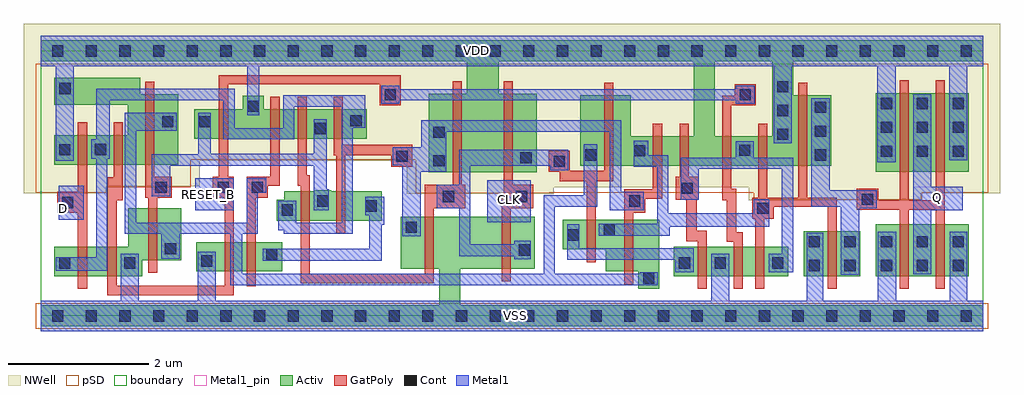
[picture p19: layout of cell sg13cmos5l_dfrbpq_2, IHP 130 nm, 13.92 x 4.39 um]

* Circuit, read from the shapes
.subckt sg13cmos5l_dfrbpq_2 CLK D Q RESET_B VDD VSS
XM1 n1 D n2 VSS sg13_lv_nmos w=0.42u l=0.13u
XM2 VSS RESET_B n1 VSS sg13_lv_nmos w=0.42u l=0.13u
XM3 n3 n4 VSS VSS sg13_lv_nmos w=0.74u l=0.13u
XM4 n5 RESET_B VSS VSS sg13_lv_nmos w=0.42u l=0.13u
XM5 n6 n3 n5 VSS sg13_lv_nmos w=0.42u l=0.13u
XM6 n4 n7 n2 VSS sg13_lv_nmos w=0.42u l=0.13u
XM7 n6 n8 n4 VSS sg13_lv_nmos w=0.42u l=0.13u
XM8 VSS n7 n8 VSS sg13_lv_nmos w=0.74u l=0.13u
XM9 n7 CLK VSS VSS sg13_lv_nmos w=0.74u l=0.13u
XM10 n9 n7 n10 VSS sg13_lv_nmos w=0.42u l=0.13u
XM11 n3 n8 n9 VSS sg13_lv_nmos w=0.74u l=0.13u
XM12 VSS n11 n10 VSS sg13_lv_nmos w=0.42u l=0.13u
XM13 n12 RESET_B VSS VSS sg13_lv_nmos w=0.42u l=0.13u
XM14 n11 n9 n12 VSS sg13_lv_nmos w=0.42u l=0.13u
XM15 n13 n9 VSS VSS sg13_lv_nmos w=0.64u l=0.13u
XM16 Q n13 VSS VSS sg13_lv_nmos w=0.74u l=0.13u m=2
XM17 n2 D VDD VDD sg13_lv_pmos w=0.42u l=0.13u
XM18 VDD RESET_B n2 VDD sg13_lv_pmos w=0.42u l=0.13u
XM19 n3 n4 VDD VDD sg13_lv_pmos w=1u l=0.13u
XM20 VDD RESET_B n4 VDD sg13_lv_pmos w=0.42u l=0.13u
XM21 n14 n3 VDD VDD sg13_lv_pmos w=0.42u l=0.13u
XM22 n4 n7 n14 VDD sg13_lv_pmos w=0.42u l=0.13u
XM23 n2 n8 n4 VDD sg13_lv_pmos w=0.42u l=0.13u
XM24 VDD n7 n8 VDD sg13_lv_pmos w=1.12u l=0.13u
XM25 n7 CLK VDD VDD sg13_lv_pmos w=1.12u l=0.13u
XM26 n9 n7 n3 VDD sg13_lv_pmos w=1u l=0.13u
XM27 n15 n8 n9 VDD sg13_lv_pmos w=0.42u l=0.13u
XM28 VDD n11 n15 VDD sg13_lv_pmos w=0.42u l=0.13u
XM29 n11 RESET_B VDD VDD sg13_lv_pmos w=0.42u l=0.13u
XM30 VDD n9 n11 VDD sg13_lv_pmos w=0.42u l=0.13u
XM31 n13 n9 VDD VDD sg13_lv_pmos w=1u l=0.13u
XM32 Q n13 VDD VDD sg13_lv_pmos w=1.12u l=0.13u m=2
.ends

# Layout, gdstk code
import gdstk
lib = gdstk.Library(unit=1e-6, precision=1e-09)
def R(c, l, rs):  # rectangles x0, y0, x1, y1
    for r in rs: c.add(gdstk.rectangle(r[:2], r[2:], *l))
def A(c, l, x, y, w, h, nx, ny, dx, dy):  # array of equal rectangles
    R(c, l, [(x+i*dx, y+j*dy, x+i*dx+w, y+j*dy+h) for i in range(nx) for j in range(ny)])
def P(c, l, *ps):  # polygons
    for p in ps: c.add(gdstk.Polygon(p, *l))
Activ = (1, 0)
GatPoly = (5, 0)
Cont = (6, 0)
Metal1 = (8, 0)
Metal1_pin = (8, 2)
pSD = (14, 0)
NWell = (31, 0)
boundary = (189, 4)

sg13cmos5l_dfrbpq_2 = lib.new_cell('sg13cmos5l_dfrbpq_2')
R(sg13cmos5l_dfrbpq_2, Activ, [(0,-0.15,13.44,0.15), (9.03,0.57,10.66,0.99), (10.88,0.57,11.69,1.21), (11.91,0.57,13.235,1.31), (2.215,0.635,3.445,1.055), (11.91,2.06,13.235,3.18)])
P(sg13cmos5l_dfrbpq_2, Activ, [(7.695,2.145),(7.695,3.145),(8.415,3.145),(8.415,2.565),(9.31,2.565),(9.31,3.63),(0,3.63),(0,3.93),(10.43,3.93),(10.43,3.63),(9.61,3.63),(9.61,2.565),(10.43,2.565),(10.43,3.93),(13.44,3.93),(13.44,3.63),(10.73,3.63),(10.73,3.145),(11.27,3.145),(11.27,2.145)],
  [(8.52,0.39),(8.52,0.635),(8.06,0.635),(8.06,0.955),(7.445,0.955),(7.445,1.375),(8.82,1.375),(8.82,0.39)],
  [(5.53,2.05),(5.53,3.17),(6.075,3.17),(6.075,3.63),(6.53,3.63),(6.53,3.17),(7.07,3.17),(7.07,2.05)],
  [(5.68,0.15),(5.68,0.675),(5.135,0.675),(5.135,1.415),(7.045,1.415),(7.045,0.675),(5.98,0.675),(5.98,0.15)],
  [(3.365,1.36),(3.365,1.66),(3.475,1.66),(3.475,1.78),(3.905,1.78),(3.905,1.79),(4.145,1.79),(4.145,1.78),(4.86,1.78),(4.86,1.36)],
  [(2.19,2.525),(2.19,2.945),(2.88,2.945),(2.88,3.14),(3.18,3.14),(3.18,2.945),(4.645,2.945),(4.645,2.525)],
  [(0.19,0.57),(0.19,0.99),(1.245,0.99),(1.245,1.535),(2,1.535),(2,0.795),(1.445,0.795),(1.445,0.57)],
  [(0.19,2.16),(0.19,2.58),(1.24,2.58),(1.24,3.01),(0.19,3.01),(0.19,3.395),(1.415,3.395),(1.415,3.16),(1.96,3.16),(1.96,2.16)])
P(sg13cmos5l_dfrbpq_2, GatPoly, [(9.88,0.39),(9.88,1.06),(9.785,1.06),(9.785,1.65),(9.72,1.65),(9.72,3.14),(9.895,3.14),(9.895,3.305),(10.195,3.305),(10.195,3.005),(9.85,3.005),(9.85,1.815),(9.915,1.815),(9.915,1.195),(10.01,1.195),(10.01,0.39)],
  [(12.25,0.39),(12.25,1.515),(11.64,1.515),(11.64,1.815),(11.94,1.815),(11.94,1.65),(12.25,1.65),(12.25,3.36),(12.38,3.36),(12.38,1.65),(12.765,1.65),(12.765,3.36),(12.895,3.36),(12.895,0.39),(12.765,0.39),(12.765,1.515),(12.38,1.515),(12.38,0.39)],
  [(8.32,0.445),(8.32,1.805),(8.73,1.805),(8.73,2.745),(8.86,2.745),(8.86,1.675),(8.62,1.675),(8.62,1.475),(8.45,1.475),(8.45,0.445)],
  [(10.19,0.39),(10.19,1.385),(10.15,1.385),(10.15,1.685),(10.23,1.685),(10.23,2.745),(10.36,2.745),(10.36,1.685),(10.8,1.685),(10.8,3.325),(10.93,3.325),(10.93,1.685),(11.35,1.685),(11.35,0.39),(11.22,0.39),(11.22,1.555),(10.45,1.555),(10.45,1.385),(10.32,1.385),(10.32,0.39)],
  [(9.37,0.39),(9.37,1.065),(9.205,1.065),(9.205,1.655),(9.055,1.655),(9.055,1.985),(9.11,1.985),(9.11,2.745),(9.24,2.745),(9.24,1.985),(9.385,1.985),(9.385,1.655),(9.355,1.655),(9.355,1.215),(9.5,1.215),(9.5,0.39)],
  [(7.785,0.765),(7.785,1.92),(7.4,1.92),(7.4,2.055),(7.245,2.055),(7.245,2.355),(7.545,2.355),(7.545,2.07),(8.035,2.07),(8.035,3.325),(8.165,3.325),(8.165,1.92),(7.915,1.92),(7.915,0.765)],
  [(6.575,0.495),(6.575,1.69),(6.6,1.69),(6.6,3.35),(6.73,3.35),(6.73,1.87),(7.02,1.87),(7.02,1.54),(6.705,1.54),(6.705,0.495)],
  [(3.705,0.465),(3.705,1.855),(3.665,1.855),(3.665,3.125),(3.795,3.125),(3.795,2.005),(3.835,2.005),(3.835,0.605),(5.475,0.605),(5.475,1.87),(5.875,1.87),(5.875,3.35),(6.005,3.35),(6.005,1.87),(6.05,1.87),(6.05,1.54),(5.605,1.54),(5.605,0.465)],
  [(4.215,1.18),(4.215,2.29),(4.175,2.29),(4.175,3.125),(4.305,3.125),(4.305,2.44),(5.3,2.44),(5.3,2.125),(5,2.125),(5,2.29),(4.345,2.29),(4.345,1.18)],
  [(2.935,0.425),(2.935,1.985),(3.275,1.985),(3.275,3.125),(3.405,3.125),(3.405,1.855),(3.235,1.855),(3.235,1.685),(3.065,1.685),(3.065,0.425)],
  [(0.95,0.295),(0.95,1.98),(1.04,1.98),(1.04,2.76),(1.17,2.76),(1.17,1.65),(1.08,1.65),(1.08,0.43),(2.62,0.43),(2.62,1.685),(2.45,1.685),(2.45,1.985),(2.54,1.985),(2.54,3.435),(5.135,3.435),(5.135,3.005),(4.835,3.005),(4.835,3.305),(2.67,3.305),(2.67,1.985),(2.75,1.985),(2.75,0.295)],
  [(1.53,0.615),(1.53,1.685),(1.49,1.685),(1.49,3.34),(1.62,3.34),(1.62,1.985),(1.865,1.985),(1.865,1.685),(1.66,1.685),(1.66,0.615)],
  [(0.53,0.39),(0.53,1.47),(0.235,1.47),(0.235,1.77),(0.53,1.77),(0.53,2.76),(0.66,2.76),(0.66,0.39)])
A(sg13cmos5l_dfrbpq_2, Cont, 0.16, -0.08, 0.16, 0.16, 28, 2, 0.48, 3.78)
A(sg13cmos5l_dfrbpq_2, Cont, 11.04, 2.215, 0.16, 0.16, 1, 3, 0, 0.34)
A(sg13cmos5l_dfrbpq_2, Cont, 11.98, 2.27, 0.16, 0.16, 1, 3, 0, 0.34)
A(sg13cmos5l_dfrbpq_2, Cont, 12.49, 2.27, 0.16, 0.16, 1, 3, 0, 0.34)
A(sg13cmos5l_dfrbpq_2, Cont, 13.005, 2.27, 0.16, 0.16, 1, 3, 0, 0.34)
A(sg13cmos5l_dfrbpq_2, Cont, 10.5, 2.51, 0.16, 0.16, 1, 3, 0, 0.34)
R(sg13cmos5l_dfrbpq_2, Cont, [(8.59,0.46,8.75,0.62), (10.95,0.64,11.11,0.8), (11.46,0.64,11.62,0.8), (11.98,0.64,12.14,0.8), (12.49,0.64,12.65,0.8), (13.005,0.64,13.165,0.8), (0.26,0.675,0.42,0.835), (1.19,0.675,1.35,0.835), (9.1,0.675,9.26,0.835), (9.61,0.675,9.77,0.835), (10.43,0.675,10.59,0.835), (2.285,0.705,2.445,0.865), (3.215,0.795,3.375,0.955), (6.815,0.86,6.975,1.02), (1.77,0.88,1.93,1.04), (10.95,0.98,11.11,1.14), (11.46,0.98,11.62,1.14), (11.98,0.98,12.14,1.14), (12.49,0.98,12.65,1.14), (13.005,0.98,13.165,1.14), (7.515,1.075,7.675,1.235), (8.025,1.145,8.185,1.305), (5.205,1.185,5.365,1.345), (3.435,1.43,3.595,1.59), (10.22,1.455,10.38,1.615), (4.63,1.49,4.79,1.65), (0.305,1.54,0.465,1.7), (3.945,1.56,4.105,1.72), (8.39,1.56,8.55,1.72), (11.71,1.585,11.87,1.745), (5.735,1.625,5.895,1.785), (6.775,1.625,6.935,1.785), (9.14,1.74,9.3,1.9), (1.635,1.755,1.795,1.915), (2.52,1.755,2.68,1.915), (3.005,1.755,3.165,1.915), (7.315,2.125,7.475,2.285), (5.6,2.135,5.76,2.295), (6.84,2.175,7,2.335), (5.07,2.2,5.23,2.36), (7.765,2.215,7.925,2.375), (8.46,2.275,8.62,2.435), (9.96,2.285,10.12,2.445), (0.26,2.29,0.42,2.45), (0.77,2.295,0.93,2.455), (5.6,2.54,5.76,2.7), (3.905,2.595,4.065,2.755), (1.73,2.69,1.89,2.85), (2.26,2.69,2.42,2.85), (4.415,2.705,4.575,2.865), (2.95,2.91,3.11,3.07), (4.905,3.075,5.065,3.235), (9.965,3.075,10.125,3.235), (0.265,3.165,0.425,3.325)])
R(sg13cmos5l_dfrbpq_2, Metal1, [(6.365,1.335,6.99,1.935), (0.255,1.375,0.61,1.855), (2.2,1.51,2.75,1.965)])
P(sg13cmos5l_dfrbpq_2, Metal1, [(11.41,0.59),(11.41,1.555),(10.99,1.555),(10.99,3.105),(11.25,3.105),(11.25,1.795),(11.92,1.795),(11.92,1.54),(11.67,1.54),(11.67,0.59)],
  [(12.44,0.595),(12.44,3.16),(12.7,3.16),(12.7,1.845),(13.15,1.845),(13.15,1.505),(12.7,1.505),(12.7,0.595)],
  [(0.21,0.645),(0.21,0.84),(0.79,0.84),(0.79,2.24),(0.72,2.24),(0.72,2.52),(0.79,2.52),(0.79,3.24),(2.765,3.24),(2.765,2.68),(3.455,2.68),(3.455,3.145),(4.625,3.145),(4.625,2.685),(4.45,2.685),(4.45,1.17),(3.465,1.17),(3.465,1.225),(3.385,1.225),(3.385,1.64),(3.645,1.64),(3.645,1.33),(4.29,1.33),(4.29,2.985),(3.615,2.985),(3.615,2.52),(2.605,2.52),(2.605,3.08),(0.98,3.08),(0.98,2.24),(0.95,2.24),(0.95,0.645)],
  [(4.855,3.025),(4.855,3.285),(5.115,3.285),(5.115,3.235),(9.91,3.235),(9.91,3.285),(10.18,3.285),(10.18,3.025),(9.91,3.025),(9.91,3.075),(5.115,3.075),(5.115,3.025)],
  [(6.755,0.81),(6.755,0.855),(5.965,0.855),(5.965,1.54),(5.65,1.54),(5.65,1.87),(5.965,1.87),(5.965,2.37),(7.525,2.37),(7.525,2.075),(7.265,2.075),(7.265,2.145),(6.125,2.145),(6.125,1.025),(6.755,1.025),(6.755,1.07),(6.99,1.07),(6.99,0.81)],
  [(0,-0.22),(0,0.22),(1.14,0.22),(1.14,0.885),(1.4,0.885),(1.4,0.22),(2.235,0.22),(2.235,0.915),(2.495,0.915),(2.495,0.22),(9.56,0.22),(9.56,0.885),(9.82,0.885),(9.82,0.22),(10.925,0.22),(10.925,1.19),(11.16,1.19),(11.16,0.22),(11.935,0.22),(11.935,1.2),(12.2,1.2),(12.2,0.22),(12.96,0.22),(12.96,1.2),(13.215,1.2),(13.215,0.22),(13.44,0.22),(13.44,-0.22)],
  [(2.705,0.44),(2.705,1.17),(1.98,1.17),(1.98,0.815),(1.72,0.815),(1.72,1.17),(1.2,1.17),(1.2,2.9),(1.94,2.9),(1.94,2.64),(1.36,2.64),(1.36,1.33),(2.935,1.33),(2.935,1.965),(3.215,1.965),(3.215,1.755),(3.095,1.755),(3.095,1.17),(2.875,1.17),(2.875,0.605),(7.17,0.605),(7.17,1.725),(7.745,1.725),(7.745,2.45),(7.935,2.45),(7.935,1.555),(7.33,1.555),(7.33,0.605),(8.54,0.605),(8.54,0.625),(8.8,0.625),(8.8,0.44)],
  [(11.93,2.19),(11.93,3.56),(10.71,3.56),(10.71,2.46),(10.45,2.46),(10.45,3.56),(3.115,3.56),(3.115,2.86),(2.945,2.86),(2.945,3.56),(0.47,3.56),(0.47,2.215),(0.215,2.215),(0.215,3.56),(0,3.56),(0,4),(13.44,4),(13.44,3.56),(13.215,3.56),(13.215,2.22),(12.955,2.22),(12.955,3.56),(12.19,3.56),(12.19,2.19)],
  [(10.38,0.625),(10.38,0.885),(10.57,0.885),(10.57,2.1),(9.385,2.1),(9.385,1.655),(9.13,1.655),(9.13,2.26),(9.91,2.26),(9.91,2.495),(10.17,2.495),(10.17,2.26),(10.73,2.26),(10.73,0.625)],
  [(7.96,1.145),(7.96,1.315),(8.79,1.315),(8.79,2.125),(8.455,2.125),(8.455,2.5),(8.66,2.5),(8.66,2.295),(8.95,2.295),(8.95,1.465),(10.165,1.465),(10.165,1.665),(10.39,1.665),(10.39,1.275),(8.97,1.275),(8.97,1.145)],
  [(9.05,0.625),(9.05,0.805),(7.51,0.805),(7.51,1.31),(7.68,1.31),(7.68,0.965),(9.31,0.965),(9.31,0.625)],
  [(5.155,1.135),(5.155,2.15),(5.02,2.15),(5.02,2.41),(5.425,2.41),(5.425,2.79),(8.275,2.79),(8.275,1.77),(8.6,1.77),(8.6,1.51),(8.115,1.51),(8.115,2.63),(5.785,2.63),(5.785,2.06),(5.415,2.06),(5.415,1.135)],
  [(3.165,0.785),(3.165,0.96),(4.685,0.96),(4.685,1.44),(4.63,1.44),(4.63,1.7),(4.895,1.7),(4.895,1.3),(4.865,1.3),(4.865,0.785)],
  [(3.89,1.51),(3.89,2.145),(1.845,2.145),(1.845,1.705),(1.585,1.705),(1.585,2.305),(2.245,2.305),(2.245,2.9),(2.425,2.9),(2.425,2.315),(3.89,2.315),(3.89,2.805),(4.075,2.805),(4.075,1.81),(4.11,1.81),(4.11,1.51)])
R(sg13cmos5l_dfrbpq_2, Metal1_pin, [(0,-0.22,13.44,0.22), (6.365,1.335,6.99,1.935), (0.255,1.375,0.61,1.855), (12.44,1.505,13.15,1.845), (2.2,1.51,2.75,1.965), (0,3.56,13.44,4)])
R(sg13cmos5l_dfrbpq_2, pSD, [(-0.07,-0.18,13.51,0.18)])
P(sg13cmos5l_dfrbpq_2, pSD, [(10.17,1.66),(10.17,1.76),(7.245,1.76),(7.245,1.75),(5.35,1.75),(5.35,2.225),(2.14,2.225),(2.14,1.835),(0.945,1.835),(0.945,1.76),(-0.07,1.76),(-0.07,3.6),(13.51,3.6),(13.51,1.76),(12.56,1.76),(12.56,1.66)])
P(sg13cmos5l_dfrbpq_2, NWell, [(10.095,1.65),(10.095,1.835),(7.315,1.835),(7.315,1.74),(5.22,1.74),(5.22,2.215),(2.27,2.215),(2.27,1.85),(0.935,1.85),(0.935,1.75),(-0.24,1.75),(-0.24,4.17),(13.68,4.17),(13.68,1.75),(12.57,1.75),(12.57,1.65)])
R(sg13cmos5l_dfrbpq_2, boundary, [(0,0,13.44,3.78)])
sg13cmos5l_dfrbpq_2.add(gdstk.Label('CLK', (6.69,1.655), layer=8, texttype=25))
sg13cmos5l_dfrbpq_2.add(gdstk.Label('VSS', (6.77,0), layer=8, texttype=25))
sg13cmos5l_dfrbpq_2.add(gdstk.Label('D', (0.325,1.53), layer=8, texttype=25))
sg13cmos5l_dfrbpq_2.add(gdstk.Label('Q', (12.79,1.685), layer=8, texttype=25))
sg13cmos5l_dfrbpq_2.add(gdstk.Label('VDD', (6.22,3.785), layer=8, texttype=25))
sg13cmos5l_dfrbpq_2.add(gdstk.Label('RESET_B', (2.385,1.73), layer=8, texttype=25))

lib.write_gds('sg13cmos5l_dfrbpq_2.gds')
